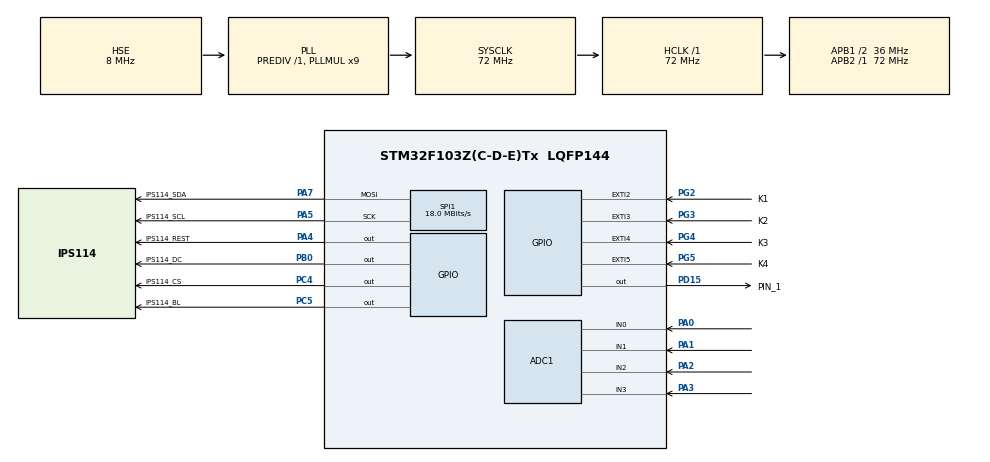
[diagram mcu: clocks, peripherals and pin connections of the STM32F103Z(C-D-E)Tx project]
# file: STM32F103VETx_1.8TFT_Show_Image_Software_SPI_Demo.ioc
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ADC1.Channel-0\#ChannelRegularConversion=ADC_CHANNEL_0
ADC1.Channel-1\#ChannelRegularConversion=ADC_CHANNEL_1
ADC1.Channel-2\#ChannelRegularConversion=ADC_CHANNEL_2
ADC1.Channel-3\#ChannelRegularConversion=ADC_CHANNEL_3
ADC1.ContinuousConvMode=ENABLE
ADC1.NbrOfConversion=4
ADC1.NbrOfConversionFlag=1
ADC1.Rank-0\#ChannelRegularConversion=1
ADC1.Rank-1\#ChannelRegularConversion=2
ADC1.Rank-2\#ChannelRegularConversion=3
ADC1.Rank-3\#ChannelRegularConversion=4
ADC1.SamplingTime-0\#ChannelRegularConversion=ADC_SAMPLETIME_239CYCLES_5
ADC1.SamplingTime-1\#ChannelRegularConversion=ADC_SAMPLETIME_239CYCLES_5
ADC1.SamplingTime-2\#ChannelRegularConversion=ADC_SAMPLETIME_239CYCLES_5
ADC1.SamplingTime-3\#ChannelRegularConversion=ADC_SAMPLETIME_239CYCLES_5
ADC1.master=1
Dma.ADC1.0.Direction=DMA_PERIPH_TO_MEMORY
Dma.ADC1.0.Instance=DMA1_Channel1
Dma.ADC1.0.MemDataAlignment=DMA_MDATAALIGN_WORD
Dma.ADC1.0.MemInc=DMA_MINC_ENABLE
Dma.ADC1.0.Mode=DMA_CIRCULAR
Dma.ADC1.0.PeriphDataAlignment=DMA_PDATAALIGN_WORD
Dma.ADC1.0.PeriphInc=DMA_PINC_DISABLE
Dma.ADC1.0.Priority=DMA_PRIORITY_LOW
Dma.Request0=ADC1
Mcu.Family=STM32F1
Mcu.Name=STM32F103Z(C-D-E)Tx
Mcu.Package=LQFP144
NVIC.DMA1_Channel1_IRQn=true\:0\:0\:false\:false\:true\:false\:true\:true
NVIC.EXTI2_IRQn=true\:0\:0\:false\:false\:true\:true\:true\:true
NVIC.EXTI3_IRQn=true\:0\:0\:false\:false\:true\:true\:true\:true
NVIC.EXTI9_5_IRQn=true\:0\:0\:false\:false\:true\:true\:true\:true
NVIC.PriorityGroup=NVIC_PRIORITYGROUP_4
OSC_IN.Mode=HSE-External-Oscillator
OSC_IN.Signal=RCC_OSC_IN
OSC_OUT.Mode=HSE-External-Oscillator
OSC_OUT.Signal=RCC_OSC_OUT
PA0-WKUP.Signal=ADCx_IN0
PA1.Signal=ADCx_IN1
PA13.Mode=Serial_Wire
PA13.Signal=SYS_JTMS-SWDIO
PA14.Mode=Serial_Wire
PA14.Signal=SYS_JTCK-SWCLK
PA2.Signal=ADCx_IN2
PA3.Signal=ADCx_IN3
PA4.GPIO_Label=IPS114_REST
PA4.GPIO_Speed=GPIO_SPEED_FREQ_HIGH
PA4.PinState=GPIO_PIN_RESET
PA4.Signal=GPIO_Output
PA5.GPIO_Label=IPS114_SCL
PA5.Mode=TX_Only_Simplex_Unidirect_Master
PA5.Signal=SPI1_SCK
PA7.GPIO_Label=IPS114_SDA
PA7.Mode=TX_Only_Simplex_Unidirect_Master
PA7.Signal=SPI1_MOSI
PB0.GPIO_Label=IPS114_DC
PB0.GPIO_Speed=GPIO_SPEED_FREQ_HIGH
PB0.Signal=GPIO_Output
PC14-OSC32_IN.Mode=LSE-External-Oscillator
PC14-OSC32_IN.Signal=RCC_OSC32_IN
PC15-OSC32_OUT.Mode=LSE-External-Oscillator
PC15-OSC32_OUT.Signal=RCC_OSC32_OUT
PC4.GPIO_Label=IPS114_CS
PC4.GPIO_Speed=GPIO_SPEED_FREQ_HIGH
PC4.Signal=GPIO_Output
PC5.GPIO_Label=IPS114_BL
PC5.GPIO_ModeDefaultOutputPP=GPIO_MODE_OUTPUT_PP
PC5.GPIO_Speed=GPIO_SPEED_FREQ_HIGH
PC5.PinState=GPIO_PIN_SET
PC5.Signal=GPIO_Output
PD15.GPIO_Label=PIN_1
PD15.GPIO_ModeDefaultOutputPP=GPIO_MODE_OUTPUT_PP
PD15.GPIO_PuPd=GPIO_PULLDOWN
PD15.Signal=GPIO_Output
PG2.GPIO_Label=K1
PG2.GPIO_ModeDefaultEXTI=GPIO_MODE_IT_FALLING
PG2.GPIO_PuPd=GPIO_PULLUP
PG2.Signal=GPXTI2
PG3.GPIO_Label=K2
PG3.GPIO_ModeDefaultEXTI=GPIO_MODE_IT_FALLING
PG3.GPIO_PuPd=GPIO_PULLUP
PG3.Signal=GPXTI3
PG4.GPIO_Label=K3
PG4.GPIO_ModeDefaultEXTI=GPIO_MODE_IT_FALLING
PG4.GPIO_PuPd=GPIO_PULLUP
PG4.Signal=GPXTI4
PG5.GPIO_Label=K4
PG5.GPIO_ModeDefaultEXTI=GPIO_MODE_IT_FALLING
PG5.GPIO_PuPd=GPIO_PULLUP
PG5.Signal=GPXTI5
ProjectManager.HeapSize=0x200
ProjectManager.StackSize=0x400
ProjectManager.TargetToolchain=MDK-ARM V5
RCC.ADCPresc=RCC_ADCPCLK2_DIV6
RCC.AHBFreq_Value=72000000
RCC.APB1CLKDivider=RCC_HCLK_DIV2
RCC.APB1Freq_Value=36000000
RCC.APB1TimFreq_Value=72000000
RCC.APB2Freq_Value=72000000
RCC.APB2TimFreq_Value=72000000
RCC.HCLKFreq_Value=72000000
RCC.PLLMUL=RCC_PLL_MUL9
RCC.PLLSourceVirtual=RCC_PLLSOURCE_HSE
RCC.SYSCLKFreq_VALUE=72000000
RCC.SYSCLKSource=RCC_SYSCLKSOURCE_PLLCLK
RCC.USBFreq_Value=72000000
SH.ADCx_IN0.0=ADC1_IN0,IN0
SH.ADCx_IN1.0=ADC1_IN1,IN1
SH.ADCx_IN2.0=ADC1_IN2,IN2
SH.ADCx_IN3.0=ADC1_IN3,IN3
SPI1.BaudRatePrescaler=SPI_BAUDRATEPRESCALER_4
SPI1.CalculateBaudRate=18.0 MBits/s
SPI1.Direction=SPI_DIRECTION_2LINES
SPI1.Mode=SPI_MODE_MASTER
SPI1.VirtualType=VM_MASTER
board=STM32F103VETx_1.8TFT_Show_Image_Software_SPI_Demo

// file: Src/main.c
/* USER CODE BEGIN Header */
/**
  ******************************************************************************
  * @file           : main.c
  * @brief          : Main program body
  ******************************************************************************
  * @attention
  *
  * <h2><center>&copy; Copyright (c) 2023 STMicroelectronics.
  * All rights reserved.</center></h2>
  *
  * This software component is licensed by ST under BSD 3-Clause license,
  * the "License"; You may not use this file except in compliance with the
  * License. You may obtain a copy of the License at:
  *                        opensource.org/licenses/BSD-3-Clause
  *
  ******************************************************************************
  */
/* USER CODE END Header */
#include "main.h"
#include "adc.h"
#include "dma.h"
#include "spi.h"
#include "gpio.h"

/* USER CODE BEGIN Includes */
#include "SEEKFREE_IPS114_SPI.h"
/* USER CODE END Includes */

/* USER CODE BEGIN PV */
uint32_t adc_value[20];
/* USER CODE END PV */

void SystemClock_Config(void);
/* USER CODE BEGIN PFP */
/* Private function prototypes -----------------------------------------------*/
void HAL_GPIO_EXIT_Callback(uint16_t GPIO_Pin)
{
	long int j=500000;
	while(j--);  //延迟消抖

	if(GPIO_Pin==GPIO_PIN_2)       //K1
	 {

	 }
	else if(GPIO_Pin==GPIO_PIN_3)  //K2
	 {

	 }
  else if(GPIO_Pin==GPIO_PIN_4)  //K3
	 {

	 }
	else if(GPIO_Pin==GPIO_PIN_5)  //K4
	 {

	 }

}
/* USER CODE END PFP */

int main(void)
{

  /* MCU Configuration--------------------------------------------------------*/

  /* Reset of all peripherals, Initializes the Flash interface and the Systick. */
  HAL_Init();

  /* Configure the system clock */
  SystemClock_Config();

  /* Initialize all configured peripherals */
  MX_GPIO_Init();
  MX_DMA_Init();
  MX_SPI1_Init();
  MX_ADC1_Init();
  /* USER CODE BEGIN 2 */
	ips114_init();
  /* USER CODE END 2 */
  HAL_ADC_Start_DMA(&hadc1, (uint32_t*)&adc_value, 20);
  /* Infinite loop */
  /* USER CODE BEGIN WHILE */
  while (1)
  {

	ips114_clear(WHITE);	//刷屏

	ips114_showstr(0,0,(uint8 *)"seekfree.taobao.com"); //显示字符串
	ips114_showuint16(0,1,666);                //显示一个16位无符号整数
	//以上函数x坐标设置是以像素为单位   y坐标是以字符为单位

	//汉字显示的X Y坐标与其他函数不一致，汉字显示函数坐标x y都是以像素为单位
	//这样可以使得位置调节更加随意
	ips114_display_chinese(0,2*16,16,chinese_test[0],4,RED);
	HAL_Delay(1000);
    /* USER CODE END WHILE */

  }
}

void SystemClock_Config(void)
{
  RCC_OscInitTypeDef RCC_OscInitStruct = {0};
  RCC_ClkInitTypeDef RCC_ClkInitStruct = {0};
  RCC_PeriphCLKInitTypeDef PeriphClkInit = {0};

  /** Initializes the RCC Oscillators according to the specified parameters
  * in the RCC_OscInitTypeDef structure.
  */
  RCC_OscInitStruct.OscillatorType = RCC_OSCILLATORTYPE_HSE;
  RCC_OscInitStruct.HSEState = RCC_HSE_ON;
  RCC_OscInitStruct.HSEPredivValue = RCC_HSE_PREDIV_DIV1;
  RCC_OscInitStruct.HSIState = RCC_HSI_ON;
  RCC_OscInitStruct.PLL.PLLState = RCC_PLL_ON;
  RCC_OscInitStruct.PLL.PLLSource = RCC_PLLSOURCE_HSE;
  RCC_OscInitStruct.PLL.PLLMUL = RCC_PLL_MUL9;
  if (HAL_RCC_OscConfig(&RCC_OscInitStruct) != HAL_OK)
  {
    Error_Handler();
  }
  /** Initializes the CPU, AHB and APB buses clocks
  */
  RCC_ClkInitStruct.ClockType = RCC_CLOCKTYPE_HCLK|RCC_CLOCKTYPE_SYSCLK
                              |RCC_CLOCKTYPE_PCLK1|RCC_CLOCKTYPE_PCLK2;
  RCC_ClkInitStruct.SYSCLKSource = RCC_SYSCLKSOURCE_PLLCLK;
  RCC_ClkInitStruct.AHBCLKDivider = RCC_SYSCLK_DIV1;
  RCC_ClkInitStruct.APB1CLKDivider = RCC_HCLK_DIV2;
  RCC_ClkInitStruct.APB2CLKDivider = RCC_HCLK_DIV1;

  if (HAL_RCC_ClockConfig(&RCC_ClkInitStruct, FLASH_LATENCY_2) != HAL_OK)
  {
    Error_Handler();
  }
  PeriphClkInit.PeriphClockSelection = RCC_PERIPHCLK_ADC;
  PeriphClkInit.AdcClockSelection = RCC_ADCPCLK2_DIV6;
  if (HAL_RCCEx_PeriphCLKConfig(&PeriphClkInit) != HAL_OK)
  {
    Error_Handler();
  }
}

void Error_Handler(void)
{
  while(1)
  {
  }
}

/************************ (C) COPYRIGHT STMicroelectronics *****END OF FILE****/
